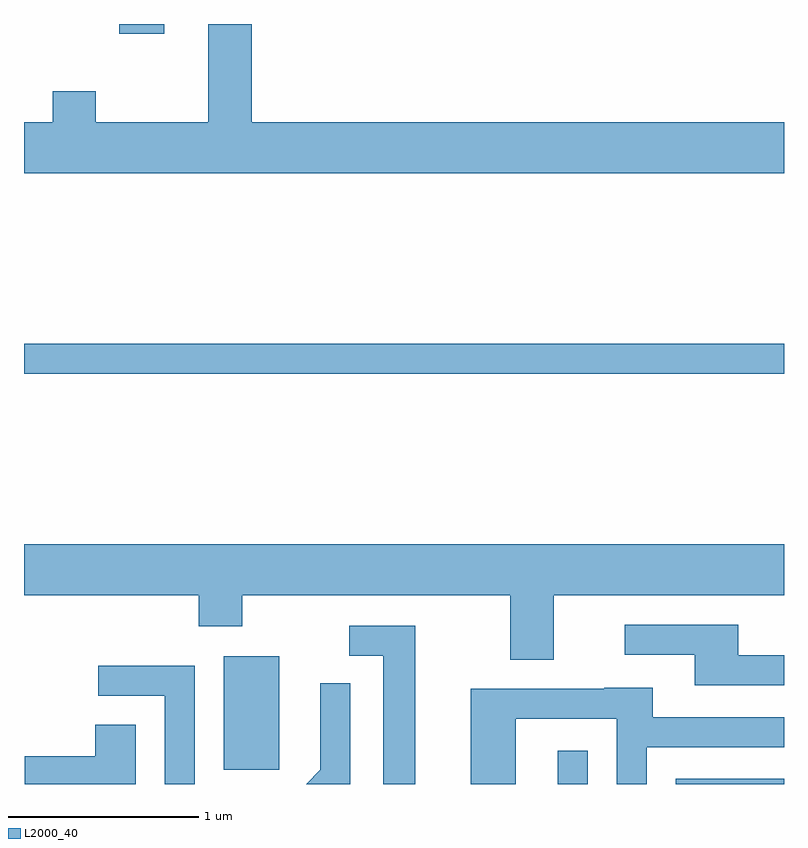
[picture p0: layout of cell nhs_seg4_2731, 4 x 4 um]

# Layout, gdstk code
import gdstk
lib = gdstk.Library(unit=1e-6, precision=1e-09)
def R(c, l, rs):  # rectangles x0, y0, x1, y1
    for r in rs: c.add(gdstk.rectangle(r[:2], r[2:], *l))
def P(c, l, *ps):  # polygons
    for p in ps: c.add(gdstk.Polygon(p, *l))
L2000_40 = (2000, 40)

nhs_seg4_2731 = lib.new_cell('nhs_seg4_2731')
R(nhs_seg4_2731, L2000_40, [(268.421,1275.982,268.579,1276.158), (269.041,1275.982,269.611,1276.009), (266.661,1276.056,266.954,1276.654), (265.611,1278.141,269.611,1278.299), (266.113,1279.931,266.349,1279.982)])
P(nhs_seg4_2731, L2000_40, [(269.611,1279.464),(266.809,1279.464),(266.809,1279.982),(266.581,1279.982),(266.581,1279.464),(265.989,1279.464),(265.989,1279.629),(265.761,1279.629),(265.761,1279.464),(265.611,1279.464),(265.611,1279.196),(269.611,1279.196)],
  [(265.611,1276.976),(266.531,1276.976),(266.531,1276.811),(266.759,1276.811),(266.759,1276.976),(268.171,1276.976),(268.171,1276.636),(268.399,1276.636),(268.399,1276.976),(269.611,1276.976),(269.611,1277.244),(265.611,1277.244)],
  [(269.611,1276.659),(269.369,1276.659),(269.369,1276.819),(268.773,1276.819),(268.773,1276.661),(269.141,1276.661),(269.141,1276.501),(269.611,1276.501)],
  [(267.669,1276.814),(267.323,1276.814),(267.323,1276.656),(267.501,1276.656),(267.501,1275.982),(267.669,1275.982)],
  [(266.509,1276.604),(266.003,1276.604),(266.003,1276.446),(266.351,1276.446),(266.351,1275.982),(266.509,1275.982)],
  [(267.329,1275.984),(267.329,1276.513),(267.171,1276.513),(267.171,1276.057),(267.096,1275.982),(267.327,1275.982)],
  [(268.199,1276.326),(268.731,1276.326),(268.731,1275.982),(268.889,1275.982),(268.889,1276.176),(269.611,1276.176),(269.611,1276.334),(268.919,1276.334),(268.919,1276.489),(268.665,1276.489),(268.665,1276.484),(267.961,1276.484),(267.961,1275.982),(268.199,1275.982)],
  [(266.199,1276.294),(265.986,1276.294),(265.986,1276.129),(265.616,1276.129),(265.616,1275.982),(266.199,1275.982)])

lib.write_gds('nhs_seg4_2731.gds')
